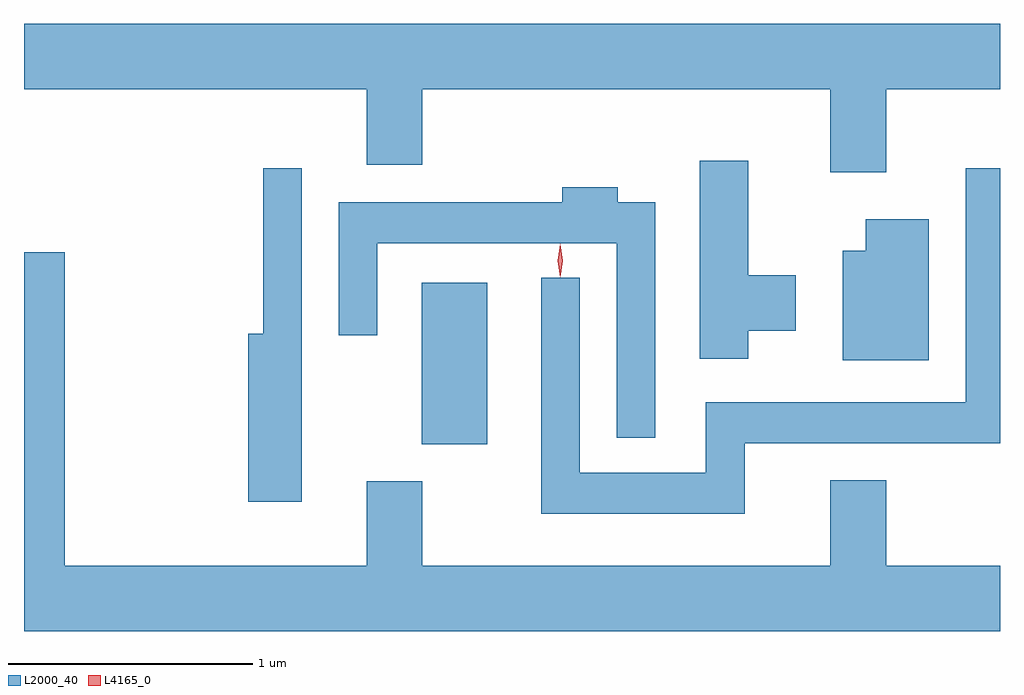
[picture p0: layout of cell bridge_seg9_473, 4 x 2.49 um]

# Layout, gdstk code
import gdstk
lib = gdstk.Library(unit=1e-6, precision=1e-09)
def R(c, l, rs):  # rectangles x0, y0, x1, y1
    for r in rs: c.add(gdstk.rectangle(r[:2], r[2:], *l))
def P(c, l, *ps):  # polygons
    for p in ps: c.add(gdstk.Polygon(p, *l))
L2000_40 = (2000, 40)
L4165_0 = (4165, 0)

bridge_seg9_473 = lib.new_cell('bridge_seg9_473')
R(bridge_seg9_473, L2000_40, [(546.786,1945.961,547.054,1946.624)])
P(bridge_seg9_473, L2000_40, [(548.689,1947.416),(549.156,1947.416),(549.156,1947.684),(545.156,1947.684),(545.156,1947.416),(546.561,1947.416),(546.561,1947.106),(546.789,1947.106),(546.789,1947.416),(548.461,1947.416),(548.461,1947.076),(548.689,1947.076)],
  [(548.124,1946.426),(548.319,1946.426),(548.319,1946.654),(548.124,1946.654),(548.124,1947.124),(547.926,1947.124),(547.926,1946.311),(548.124,1946.311)],
  [(548.109,1945.966),(549.156,1945.966),(549.156,1947.093),(549.016,1947.093),(549.016,1946.134),(547.951,1946.134),(547.951,1945.844),(547.434,1945.844),(547.434,1946.643),(547.276,1946.643),(547.276,1945.676),(548.109,1945.676)],
  [(546.294,1947.093),(546.136,1947.093),(546.136,1946.414),(546.076,1946.414),(546.076,1945.726),(546.294,1945.726)],
  [(547.744,1946.954),(547.589,1946.954),(547.589,1947.014),(547.361,1947.014),(547.361,1946.954),(546.446,1946.954),(546.446,1946.408),(546.604,1946.408),(546.604,1946.786),(547.586,1946.786),(547.586,1945.988),(547.744,1945.988)],
  [(548.864,1946.884),(548.606,1946.884),(548.606,1946.754),(548.511,1946.754),(548.511,1946.306),(548.864,1946.306)],
  [(549.156,1945.464),(548.689,1945.464),(548.689,1945.814),(548.461,1945.814),(548.461,1945.464),(546.789,1945.464),(546.789,1945.809),(546.561,1945.809),(546.561,1945.464),(545.324,1945.464),(545.324,1946.749),(545.156,1946.749),(545.156,1945.196),(549.156,1945.196)])
P(bridge_seg9_473, L4165_0, [(547.353,1946.645),(547.353,1946.645),(547.343,1946.714),(547.353,1946.782),(547.353,1946.783),(547.354,1946.782),(547.363,1946.714),(547.354,1946.645)],
  [(547.353,1946.648),(547.344,1946.714),(547.353,1946.78),(547.354,1946.78),(547.354,1946.78),(547.364,1946.714),(547.354,1946.648),(547.354,1946.648)])

lib.write_gds('bridge_seg9_473.gds')
